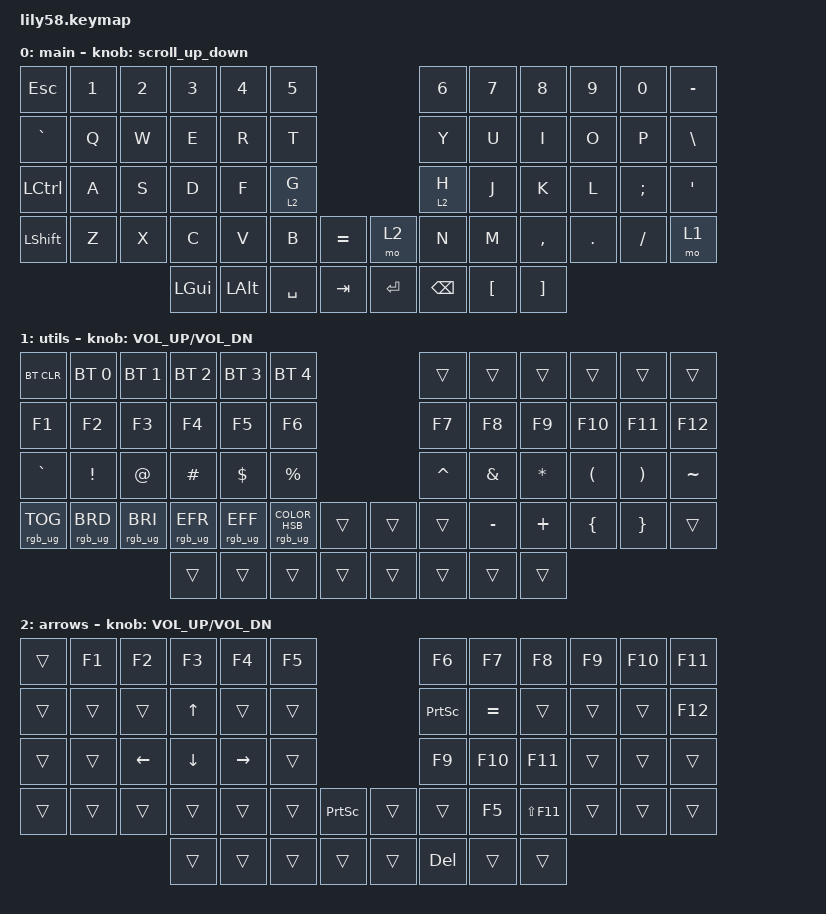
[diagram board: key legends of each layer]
/*
 * Copyright (c) 2020 The ZMK Contributors
 *
 * SPDX-License-Identifier: MIT
 */

#include <behaviors.dtsi>
#include <dt-bindings/zmk/bt.h>
#include <dt-bindings/zmk/keys.h>
#include <dt-bindings/zmk/pointing.h>
#include <dt-bindings/zmk/rgb.h>

/ {
    behaviors {
        scroll_up_down: scroll_up_down {
            compatible = "zmk,behavior-sensor-rotate";
            label = "SCROLL_UP_DOWN";
            #sensor-binding-cells = <0>;
            bindings = <&msc SCRL_UP>, <&msc SCRL_DOWN>;

            tap-ms = <20>;
        };
    };

    keymap {
        compatible = "zmk,keymap";

        main {
            // ------------------------------------------------------------------------------------------------------------
            // |  ESC  |  1  |  2  |  3   |  4   |  5   |                   |  6   |  7    |  8    |  9   |   0   |   `   |
            // |  TAB  |  Q  |  W  |  E   |  R   |  T   |                   |  Y   |  U    |  I    |  O   |   P   |   -   |
            // |  CTRL |  A  |  S  |  D   |  F   |  G   |                   |  H   |  J    |  K    |  L   |   ;   |   '   |
            // | SHIFT |  Z  |  X  |  C   |  V   |  B   |   "["  |  |  "]"  |  N   |  M    |  ,    |  .   |   /   | SHIFT |
            //                     | ALT  | GUI  | LOWER|  SPACE |  | ENTER | RAISE| BSPC  | GUI   |

            bindings = <
&kp ESC    &kp N1  &kp N2  &kp N3        &kp N4        &kp N5                           &kp N6         &kp N7            &kp N8             &kp N9   &kp N0    &kp MINUS
&kp GRAVE  &kp Q   &kp W   &kp E         &kp R         &kp T                            &kp Y          &kp U             &kp I              &kp O    &kp P     &kp BACKSLASH
&kp LCTRL  &kp A   &kp S   &kp D         &kp F         &lt 2 G                          &lt 2 H        &kp J             &kp K              &kp L    &kp SEMI  &kp SQT
&kp LSHFT  &kp Z   &kp X   &kp C         &kp V         &kp B      &kp EQUAL    &mo 2    &kp N          &kp M             &kp COMMA          &kp DOT  &kp FSLH  &mo 1
                           &kp LEFT_GUI  &kp LEFT_ALT  &kp SPACE  &kp TAB      &kp RET  &kp BACKSPACE  &kp LEFT_BRACKET  &kp RIGHT_BRACKET
            >;

            sensor-bindings = <&scroll_up_down>;
        };

        utils {
            // ------------------------------------------------------------------------------------------------------------
            // | BTCLR | BT1 | BT2 |  BT3 |  BT4 |  BT5 |                   |      |       |       |      |       |       |
            // |  F1   |  F2 |  F3 |  F4  |  F5  |  F6  |                   |  F7  |  F8   |  F9   |  F10 |  F11  |  F12  |
            // |   `   |  !  |  @  |  #   |  $   |  %   |                   |  ^   |  &    |  *    |  (   |   )   |   ~   |
            // |       |     |     |      |      |      |        |  |       |      |  _    |  +    |  {   |   }   |  "|"  |
            //                     |      |      |      |        |  |       |      |       |       |

            bindings = <
&bt BT_CLR       &bt BT_SEL 0     &bt BT_SEL 1     &bt BT_SEL 2     &bt BT_SEL 3     &bt BT_SEL 4                                        &trans     &trans     &trans     &trans    &trans    &trans
&kp F1           &kp F2           &kp F3           &kp F4           &kp F5           &kp F6                                              &kp F7     &kp F8     &kp F9     &kp F10   &kp F11   &kp F12
&kp GRAVE        &kp EXCL         &kp AT           &kp HASH         &kp DOLLAR       &kp PRCNT                                           &kp CARET  &kp AMPS   &kp ASTRK  &kp LPAR  &kp RPAR  &kp TILDE
&rgb_ug RGB_TOG  &rgb_ug RGB_BRD  &rgb_ug RGB_BRI  &rgb_ug RGB_EFR  &rgb_ug RGB_EFF  &rgb_ug RGB_COLOR_HSB(105,89,44)  &trans    &trans  &trans     &kp MINUS  &kp PLUS   &kp LBRC  &kp RBRC  &trans
                                                   &trans           &trans           &trans                            &trans    &trans  &trans     &trans     &trans
            >;

            sensor-bindings = <&inc_dec_kp C_VOL_UP C_VOL_DN>;
        };

        arrows {
            // ------------------------------------------------------------------------------------------------------------
            // |       |     |     |      |      |      |                   |      |       |       |      |       |       |
            // |   `   |  1  |  2  |  3   |  4   |  5   |                   |  6   |   7   |   8   |  9   |   0   |       |
            // |   F1  |  F2 |  F3 |  F4  |  F5  |  F6  |                   |      |   <-  |   v   |  ^   |  ->   |       |
            // |   F7  |  F8 |  F9 |  F10 |  F11 |  F12 |        |  |       |  +   |   -   |   =   |  [   |   ]   |   \   |
            //                     |      |      |      |        |  |       |      |       |       |

            bindings = <
&trans  &kp F1  &kp F2    &kp F3        &kp F4     &kp F5                             &kp F6           &kp F7     &kp F8       &kp F9  &kp F10  &kp F11
&trans  &trans  &trans    &kp UP_ARROW  &trans     &trans                             &kp PRINTSCREEN  &kp EQUAL  &trans       &trans  &trans   &kp F12
&trans  &trans  &kp LEFT  &kp DOWN      &kp RIGHT  &trans                             &kp F9           &kp F10    &kp F11      &trans  &trans   &trans
&trans  &trans  &trans    &trans        &trans     &trans  &kp PRINTSCREEN    &trans  &trans           &kp F5     &kp LS(F11)  &trans  &trans   &trans
                          &trans        &trans     &trans  &trans             &trans  &kp DEL          &trans     &trans
            >;

            sensor-bindings = <&inc_dec_kp C_VOL_UP C_VOL_DN>;
        };
    };
};
